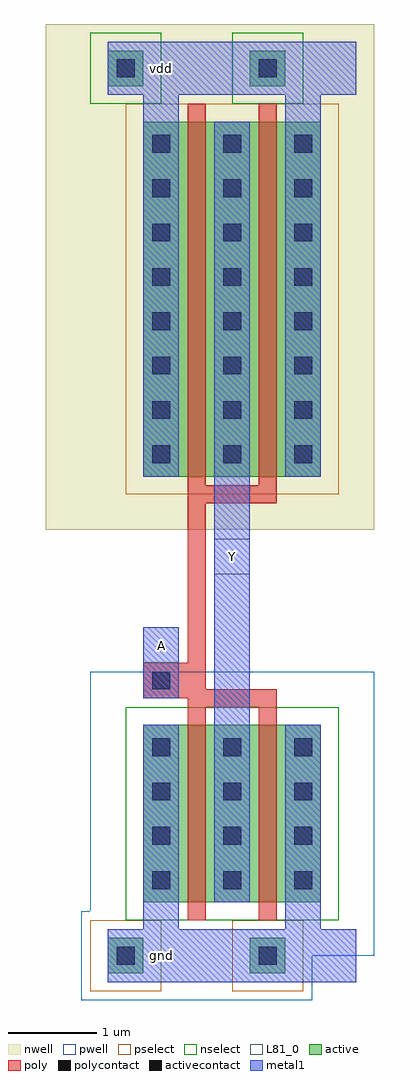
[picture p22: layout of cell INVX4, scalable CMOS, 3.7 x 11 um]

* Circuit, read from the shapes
.subckt INVX4 A Y gnd vdd
M1 Y A gnd gnd nfet w=2u l=0.2u m=2
M2 Y A vdd vdd pfet w=4u l=0.2u m=2
.ends

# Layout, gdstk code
import gdstk
lib = gdstk.Library(unit=1e-6, precision=1e-09)
def R(c, l, rs):  # rectangles x0, y0, x1, y1
    for r in rs: c.add(gdstk.rectangle(r[:2], r[2:], *l))
def A(c, l, x, y, w, h, nx, ny, dx, dy):  # array of equal rectangles
    R(c, l, [(x+i*dx, y+j*dy, x+i*dx+w, y+j*dy+h) for i in range(nx) for j in range(ny)])
pwell = (41, 0)
nwell = (42, 0)
active = (43, 0)
pselect = (44, 0)
nselect = (45, 0)
poly = (46, 0)
polycontact = (47, 0)
activecontact = (48, 0)
metal1 = (49, 0)
L81_0 = (81, 0)

invx4 = lib.new_cell('INVX4')
R(invx4, pwell, [(-0.5,-0.5,2.1,0), (-0.5,0,2.8,0.5), (-0.4,0.5,2.8,3.2)])
R(invx4, nwell, [(-0.9,4.8,2.8,10.5)])
R(invx4, active, [(-0.2,-0.2,0.2,0.2), (1.4,-0.2,1.8,0.2), (0.2,0.6,2.2,2.6), (0.2,5.4,2.2,9.4), (-0.2,9.8,0.2,10.2), (1.4,9.8,1.8,10.2)])
R(invx4, pselect, [(-0.4,-0.4,0.4,0.4), (1.2,-0.4,2,0.4), (0,5.2,2.4,9.6)])
R(invx4, nselect, [(0,0.4,2.4,2.8), (-0.4,9.6,0.4,10.4), (1.2,9.6,2,10.4)])
R(invx4, poly, [(0.7,0.4,0.9,2.8), (1.5,0.4,1.7,2.8), (0.7,2.8,1.7,2.9), (0.2,2.9,1.7,3), (0.2,3,0.9,3.3), (0.7,3.3,0.9,5.1), (0.7,5.1,1.7,5.3), (0.7,5.3,0.9,9.6), (1.5,5.3,1.7,9.6)])
R(invx4, polycontact, [(0.3,3,0.5,3.2)])
A(invx4, activecontact, 0.3, 0.75, 0.2, 0.2, 3, 4, 0.8, 0.5)
A(invx4, activecontact, 0.3, 5.55, 0.2, 0.2, 3, 8, 0.8, 0.5)
R(invx4, activecontact, [(-0.1,-0.1,0.1,0.1), (1.5,-0.1,1.7,0.1), (-0.1,9.9,0.1,10.1), (1.5,9.9,1.7,10.1)])
R(invx4, metal1, [(-0.2,-0.3,2.6,0.3), (0.2,0.3,0.6,2.6), (1.8,0.3,2.2,2.6), (1,0.6,1.4,9.4), (0.2,2.9,0.6,3.7), (0.2,5.4,0.6,9.7), (1.8,5.4,2.2,9.7), (-0.2,9.7,2.6,10.3)])
R(invx4, L81_0, [(0.2,3.3,0.6,3.7), (1,4.3,1.4,4.7)])
invx4.add(gdstk.Label('vdd', (0.4,10), layer=49, texttype=0))
invx4.add(gdstk.Label('gnd', (0.4,0), layer=49, texttype=0))
invx4.add(gdstk.Label('Y', (1.2,4.5), layer=49, texttype=0))
invx4.add(gdstk.Label('A', (0.4,3.5), layer=49, texttype=0))

lib.write_gds('INVX4.gds')
